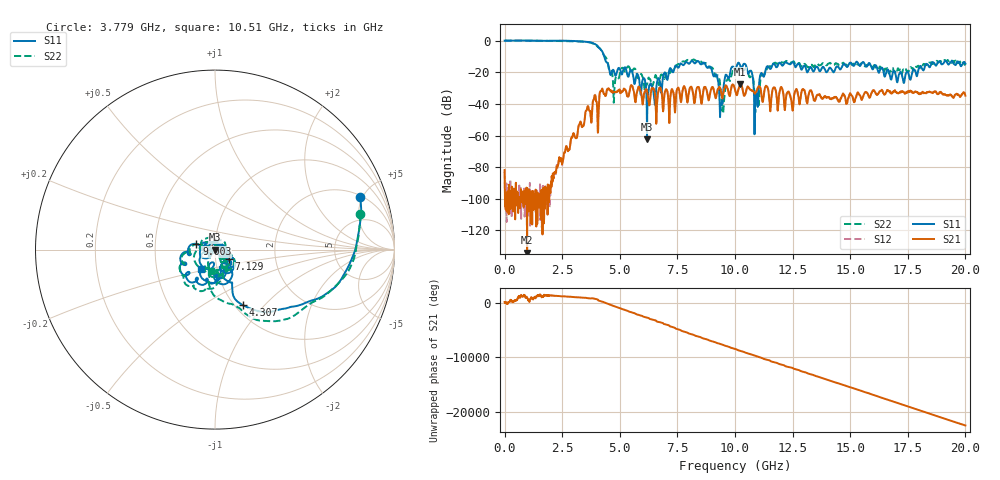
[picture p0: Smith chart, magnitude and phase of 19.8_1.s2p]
#  HZ  S  RI  R  50.00
! Rohde & Schwarz Vector Network Analyzer
! Rohde-Schwarz,ZNB20-2Port,1311601062102128,3.60
! Created: UTC 4/29/2024, 2:59:39 PM
! freq[Hz]  re:S11  im:S11  re:S21  im:S21  re:S12  im:S12  re:S22  im:S22
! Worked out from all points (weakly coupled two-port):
!   2007 points, 100 kHz to 20 GHz, reference 50 ohm
!   highest |S21| = -27.69 dB at 10.23 GHz (marker M1); lowest = -134.0 dB at 977.2 MHz (marker M2)
!   lowest |S11| = -62.4 dB at 6.182 GHz (marker M3), VSWR 1.00, Z = 50.1 - j0.0261 ohm
!   |S11| at or under -10 dB: 4.326 GHz to end of sweep
!   |S22| runs from -45.4 to 0.1 dB; largest |S21 - S12| = 0.002
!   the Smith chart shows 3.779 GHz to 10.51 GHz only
!   S11 on the Smith chart (normalised r, x): 3.779 GHz: 2.08, +4.77; 4.307 GHz: 1.09, -0.76; 7.129 GHz: 1.16, -0.13; 9.003 GHz: 0.81, +0.05; 10.51 GHz: 0.83, -0.18
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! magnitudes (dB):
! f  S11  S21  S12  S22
! 100 kHz  0.0  -81.8  -82.7  0.1
! 977.2 MHz  0.1  -134.0  -92.4  0.0
! 2.233 GHz  0.0  -83.5  -82.0  -0.3
! 3.34 GHz  -0.6  -53.9  -53.6  -0.6
! 3.779 GHz  -1.3  -49.9  -50.1  -1.6
! 4.307 GHz  -9.2  -33.7  -33.9  -9.2
! 4.776 GHz  -20.7  -32.5  -32.5  -28.9
! 5.354 GHz  -22.8  -35.4  -35.3  -16.4
! 6.182 GHz  -62.4  -31.9  -31.9  -27.5
! 6.67 GHz  -23.7  -32.3  -32.3  -27.2
! 7.129 GHz  -20.3  -42.8  -42.9  -20.4
! 9.003 GHz  -19.3  -29.5  -29.5  -17.0
! 9.382 GHz  -40.6  -31.6  -31.6  -31.6
! 9.472 GHz  -36.8  -35.2  -35.3  -42.6
! 10 GHz  -18.7  -31.0  -31.0  -19.2
! 10.23 GHz  -15.7  -27.7  -27.7  -16.8
! 10.51 GHz  -17.5  -30.3  -30.3  -18.4
! 10.92 GHz  -33.6  -32.5  -32.5  -34.6
! 11.42 GHz  -16.2  -29.8  -29.8  -16.8
! 13.34 GHz  -18.0  -32.7  -32.7  -15.3
! 16.67 GHz  -19.0  -31.8  -31.8  -20.5
! 20 GHz  -14.6  -34.8  -34.8  -14.4
